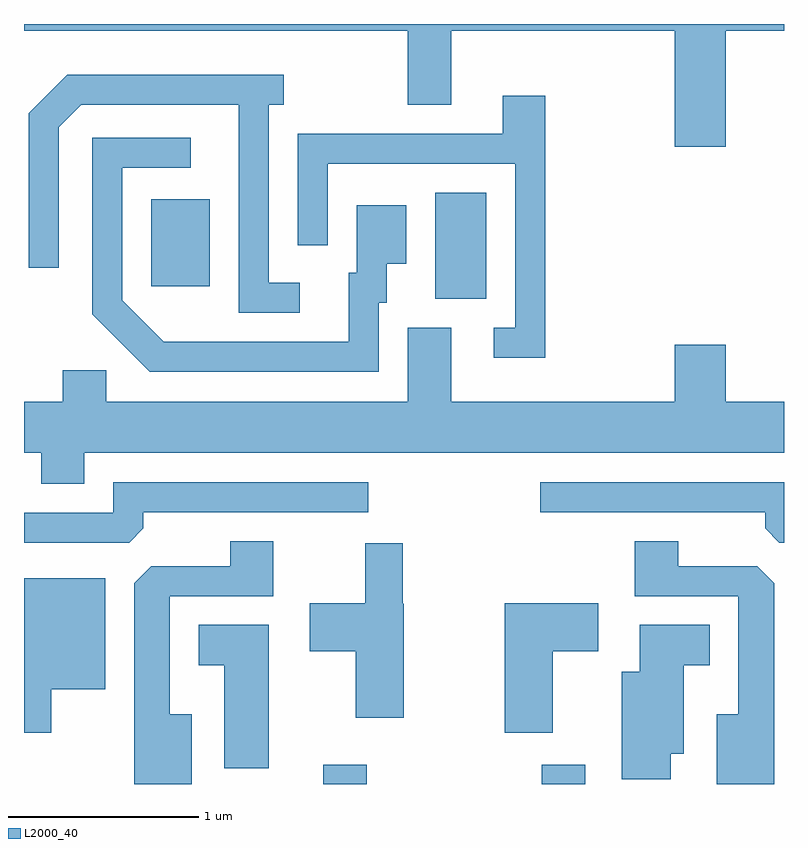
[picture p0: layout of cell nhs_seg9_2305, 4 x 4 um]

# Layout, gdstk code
import gdstk
lib = gdstk.Library(unit=1e-6, precision=1e-09)
def R(c, l, rs):  # rectangles x0, y0, x1, y1
    for r in rs: c.add(gdstk.rectangle(r[:2], r[2:], *l))
def P(c, l, *ps):  # polygons
    for p in ps: c.add(gdstk.Polygon(p, *l))
L2000_40 = (2000, 40)

nhs_seg9_2305 = lib.new_cell('nhs_seg9_2305')
R(nhs_seg9_2305, L2000_40, [(253.186,2074.432,253.414,2074.534), (254.336,2074.432,254.564,2074.534), (253.776,2076.986,254.044,2077.544), (252.281,2077.051,252.589,2077.509)])
P(nhs_seg9_2305, L2000_40, [(255.304,2078.396),(255.611,2078.396),(255.611,2078.432),(251.611,2078.432),(251.611,2078.396),(253.631,2078.396),(253.631,2078.006),(253.859,2078.006),(253.859,2078.396),(255.036,2078.396),(255.036,2077.786),(255.304,2077.786)],
  [(253.063,2077.069),(252.899,2077.069),(252.899,2078.006),(252.978,2078.006),(252.978,2078.164),(251.839,2078.164),(251.636,2077.962),(251.636,2077.148),(251.794,2077.148),(251.794,2077.889),(251.912,2078.006),(252.741,2078.006),(252.741,2076.911),(253.063,2076.911)],
  [(254.354,2078.054),(254.131,2078.054),(254.131,2077.854),(253.051,2077.854),(253.051,2077.268),(253.209,2077.268),(253.209,2077.696),(254.196,2077.696),(254.196,2076.834),(254.083,2076.834),(254.083,2076.676),(254.354,2076.676)],
  [(253.479,2076.966),(253.519,2076.966),(253.519,2077.171),(253.624,2077.171),(253.624,2077.479),(253.361,2077.479),(253.361,2077.124),(253.321,2077.124),(253.321,2076.759),(252.347,2076.759),(252.129,2076.977),(252.129,2077.676),(252.488,2077.676),(252.488,2077.834),(251.971,2077.834),(251.971,2076.904),(252.274,2076.601),(253.479,2076.601)],
  [(251.929,2076.176),(255.611,2076.176),(255.611,2076.444),(255.304,2076.444),(255.304,2076.744),(255.036,2076.744),(255.036,2076.444),(253.859,2076.444),(253.859,2076.834),(253.631,2076.834),(253.631,2076.444),(252.044,2076.444),(252.044,2076.609),(251.816,2076.609),(251.816,2076.444),(251.611,2076.444),(251.611,2076.176),(251.701,2076.176),(251.701,2076.011),(251.929,2076.011)],
  [(252.239,2075.777),(252.239,2075.861),(253.423,2075.861),(253.423,2076.019),(252.081,2076.019),(252.081,2075.859),(251.611,2075.859),(251.611,2075.701),(252.164,2075.701)],
  [(255.611,2076.019),(254.328,2076.019),(254.328,2075.861),(255.511,2075.861),(255.511,2075.777),(255.587,2075.701),(255.611,2075.701)],
  [(252.494,2074.799),(252.379,2074.799),(252.379,2075.421),(252.924,2075.421),(252.924,2075.709),(252.696,2075.709),(252.696,2075.579),(252.282,2075.579),(252.191,2075.489),(252.191,2074.432),(252.494,2074.432)],
  [(255.559,2075.489),(255.469,2075.579),(255.054,2075.579),(255.054,2075.709),(254.826,2075.709),(254.826,2075.421),(255.371,2075.421),(255.371,2074.799),(255.256,2074.799),(255.256,2074.432),(255.559,2074.432)],
  [(253.609,2075.38),(253.604,2075.38),(253.604,2075.699),(253.406,2075.699),(253.406,2075.384),(253.116,2075.384),(253.116,2075.131),(253.356,2075.131),(253.356,2074.781),(253.609,2074.781)],
  [(251.754,2074.931),(252.039,2074.931),(252.039,2075.514),(251.611,2075.514),(251.611,2074.701),(251.754,2074.701)],
  [(254.394,2075.131),(254.634,2075.131),(254.634,2075.384),(254.141,2075.384),(254.141,2074.701),(254.394,2074.701)],
  [(252.899,2075.269),(252.531,2075.269),(252.531,2075.056),(252.666,2075.056),(252.666,2074.516),(252.899,2074.516)],
  [(255.014,2074.591),(255.084,2074.591),(255.084,2075.056),(255.219,2075.056),(255.219,2075.269),(254.851,2075.269),(254.851,2075.024),(254.756,2075.024),(254.756,2074.456),(255.014,2074.456)])

lib.write_gds('nhs_seg9_2305.gds')
